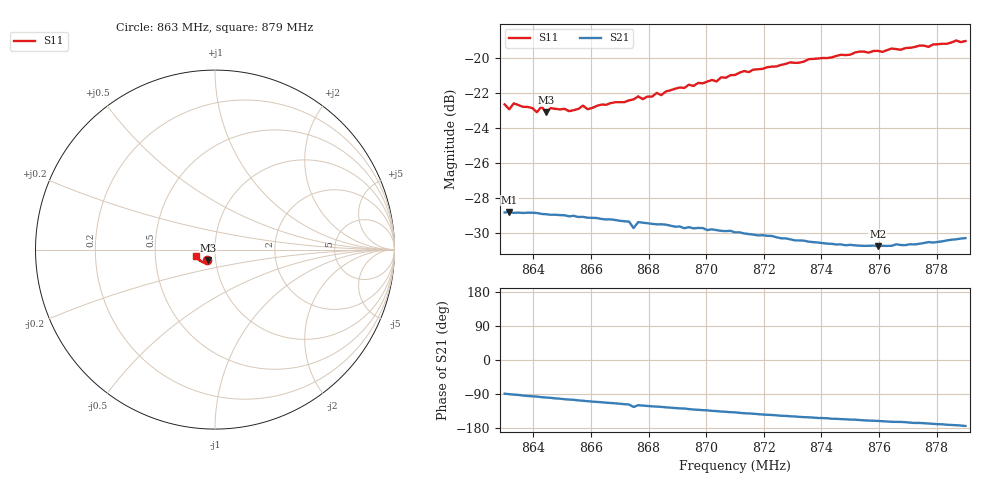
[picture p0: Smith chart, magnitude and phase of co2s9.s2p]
# HZ S RI R 50
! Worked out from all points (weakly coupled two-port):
!   101 points, 863 MHz to 879 MHz, reference 50 ohm
!   highest |S21| = -28.81 dB at 863.16 MHz (marker M1); lowest = -30.8 dB at 875.96 MHz (marker M2)
!   lowest |S11| = -23.1 dB at 864.44 MHz (marker M3), VSWR 1.15, Z = 45.9 - j5.34 ohm
!   |S11| at or under -10 dB: start of sweep to end of sweep
!   S12 and S22 are empty: the file has one direction only
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8.63e8  -0.0443 -0.0588  0.000659 -0.0361  0 0  0 0
8.6316e8  -0.0395 -0.0593  -0.000101 -0.0363  0 0  0 0
8.6332e8  -0.044 -0.0596  -0.000817 -0.036  0 0  0 0
8.6412e8  -0.0395 -0.0577  -0.00411 -0.0358  0 0  0 0
8.6428e8  -0.0401 -0.0604  -0.005 -0.0354  0 0  0 0
8.6444e8  -0.0392 -0.0579  -0.00558 -0.0353  0 0  0 0
8.646e8  -0.0401 -0.0596  -0.00611 -0.0351  0 0  0 0
8.6524e8  -0.0381 -0.0592  -0.00882 -0.0341  0 0  0 0
8.6572e8  -0.0379 -0.0624  -0.0106 -0.0335  0 0  0 0
8.6588e8  -0.0383 -0.0602  -0.0112 -0.0331  0 0  0 0
8.6732e8  -0.0389 -0.0648  -0.0157 -0.0302  0 0  0 0
8.6748e8  -0.0385 -0.0656  -0.0182 -0.027  0 0  0 0
8.6764e8  -0.0398 -0.0666  -0.0166 -0.0296  0 0  0 0
8.678e8  -0.039 -0.0655  -0.017 -0.0292  0 0  0 0
8.6828e8  -0.041 -0.068  -0.0182 -0.028  0 0  0 0
8.6844e8  -0.041 -0.0667  -0.0185 -0.0278  0 0  0 0
8.694e8  -0.0464 -0.0698  -0.0209 -0.0253  0 0  0 0
8.71e8  -0.0538 -0.0714  -0.0236 -0.0212  0 0  0 0
8.7372e8  -0.0713 -0.0691  -0.0262 -0.014  0 0  0 0
8.7596e8  -0.0857 -0.0602  -0.0273 -0.00952  0 0  0 0
8.7644e8  -0.0903 -0.0561  -0.0278 -0.00844  0 0  0 0
8.79e8  -0.1054 -0.037  -0.0304 -0.00314  0 0  0 0
